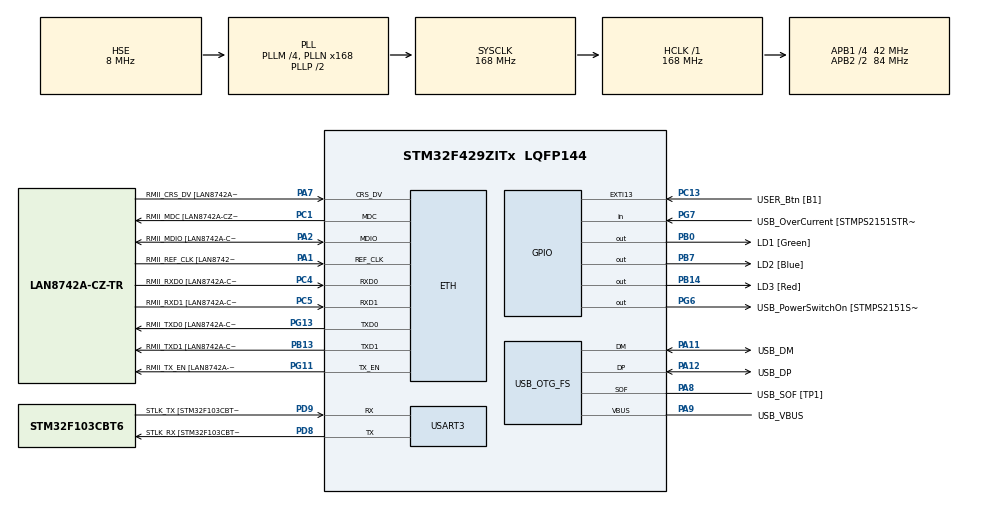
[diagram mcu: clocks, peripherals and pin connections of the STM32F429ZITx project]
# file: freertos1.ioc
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ETH.MediaInterface=ETH_MEDIA_INTERFACE_RMII
ETH.PHY_Name=LAN8742A_PHY_ADDRESS
ETH.PHY_Value=0
ETH.PhyAddress=0
FREERTOS.Tasks01=defaultTask,0,128,StartDefaultTask,Default,NULL,Dynamic,NULL,NULL;FlashBlueTask,0,128,BlueTask,Default,NULL,Dynamic,NULL,NULL;FlashRedTask,0,128,RedTask,Default,NULL,Dynamic,NULL,NULL
Mcu.Family=STM32F4
Mcu.Name=STM32F429ZITx
Mcu.Package=LQFP144
NVIC.PriorityGroup=NVIC_PRIORITYGROUP_4
NVIC.TIM8_UP_TIM13_IRQn=true\:0\:0\:false\:false\:true\:false\:false\:true
NVIC.TimeBase=TIM8_UP_TIM13_IRQn
NVIC.TimeBaseIP=TIM8
PA1.GPIO_Label=RMII_REF_CLK [LAN8742A-CZ-TR_REFCLK0]
PA1.Mode=RMII
PA1.Signal=ETH_REF_CLK
PA10.GPIO_Label=USB_ID
PA10.Signal=USB_OTG_FS_ID
PA11.GPIO_Label=USB_DM
PA11.Mode=Device_Only
PA11.Signal=USB_OTG_FS_DM
PA12.GPIO_Label=USB_DP
PA12.Mode=Device_Only
PA12.Signal=USB_OTG_FS_DP
PA13.GPIO_Label=TMS
PA13.Mode=Serial_Wire
PA13.Signal=SYS_JTMS-SWDIO
PA14.GPIO_Label=TCK
PA14.Mode=Serial_Wire
PA14.Signal=SYS_JTCK-SWCLK
PA2.GPIO_Label=RMII_MDIO [LAN8742A-CZ-TR_MDIO]
PA2.Mode=RMII
PA2.Signal=ETH_MDIO
PA7.GPIO_Label=RMII_CRS_DV [LAN8742A-CZ-TR_CRS_DV]
PA7.Mode=RMII
PA7.Signal=ETH_CRS_DV
PA8.GPIO_Label=USB_SOF [TP1]
PA8.Mode=Activate_SOF_FS
PA8.Signal=USB_OTG_FS_SOF
PA9.GPIO_Label=USB_VBUS
PA9.Mode=Activate_VBUS
PA9.Signal=USB_OTG_FS_VBUS
PB0.GPIO_Label=LD1 [Green]
PB0.Signal=GPIO_Output
PB13.GPIO_Label=RMII_TXD1 [LAN8742A-CZ-TR_TXD1]
PB13.Mode=RMII
PB13.Signal=ETH_TXD1
PB14.GPIO_Label=LD3 [Red]
PB14.Signal=GPIO_Output
PB7.GPIO_Label=LD2 [Blue]
PB7.Signal=GPIO_Output
PC1.GPIO_Label=RMII_MDC [LAN8742A-CZ-TR_MDC]
PC1.Mode=RMII
PC1.Signal=ETH_MDC
PC13.GPIO_Label=USER_Btn [B1]
PC13.GPIO_ModeDefaultEXTI=GPIO_MODE_IT_RISING_FALLING
PC13.Signal=GPXTI13
PC14/OSC32_IN.Mode=LSE-External-Oscillator
PC14/OSC32_IN.Signal=RCC_OSC32_IN
PC15/OSC32_OUT.Mode=LSE-External-Oscillator
PC15/OSC32_OUT.Signal=RCC_OSC32_OUT
PC4.GPIO_Label=RMII_RXD0 [LAN8742A-CZ-TR_RXD0]
PC4.Mode=RMII
PC4.Signal=ETH_RXD0
PC5.GPIO_Label=RMII_RXD1 [LAN8742A-CZ-TR_RXD1]
PC5.Mode=RMII
PC5.Signal=ETH_RXD1
PD8.GPIO_Label=STLK_RX [STM32F103CBT6_PA3]
PD8.Mode=Asynchronous
PD8.Signal=USART3_TX
PD9.GPIO_Label=STLK_TX [STM32F103CBT6_PA2]
PD9.Mode=Asynchronous
PD9.Signal=USART3_RX
PG11.GPIO_Label=RMII_TX_EN [LAN8742A-CZ-TR_TXEN]
PG11.Mode=RMII
PG11.Signal=ETH_TX_EN
PG13.GPIO_Label=RMII_TXD0 [LAN8742A-CZ-TR_TXD0]
PG13.Mode=RMII
PG13.Signal=ETH_TXD0
PG6.GPIO_Label=USB_PowerSwitchOn [STMPS2151STR_EN]
PG6.Signal=GPIO_Output
PG7.GPIO_Label=USB_OverCurrent [STMPS2151STR_FAULT]
PG7.Signal=GPIO_Input
PH0/OSC_IN.GPIO_Label=MCO [STM32F103CBT6_PA8]
PH0/OSC_IN.Mode=HSE-External-Clock-Source
PH0/OSC_IN.Signal=RCC_OSC_IN
PH1/OSC_OUT.Mode=HSE-External-Clock-Source
PH1/OSC_OUT.Signal=RCC_OSC_OUT
ProjectManager.HeapSize=0x200
ProjectManager.StackSize=0x400
ProjectManager.TargetToolchain=TrueSTUDIO
RCC.48MHZClocksFreq_Value=48000000
RCC.AHBFreq_Value=168000000
RCC.APB1CLKDivider=RCC_HCLK_DIV4
RCC.APB1Freq_Value=42000000
RCC.APB1TimFreq_Value=84000000
RCC.APB2CLKDivider=RCC_HCLK_DIV2
RCC.APB2Freq_Value=84000000
RCC.APB2TimCLKDivider=2
RCC.APB2TimFreq_Value=168000000
RCC.CortexFreq_Value=168000000
RCC.HCLKFreq_Value=168000000
RCC.HSE_VALUE=8000000
RCC.HSI_VALUE=16000000
RCC.PLLM=4
RCC.PLLMUL=RCC_PLL_MUL9
RCC.PLLN=168
RCC.PLLQ=7
RCC.PRESCALERUSB=RCC_USBCLKSOURCE_PLL_DIV1_5
RCC.SYSCLKFreq_VALUE=168000000
RCC.SYSCLKSource=RCC_SYSCLKSOURCE_PLLCLK
RCC.SYSCLKSourceVirtual=RCC_SYSCLKSOURCE_PLLCLK
RCC.USBFreq_Value=48000000
RCC.VCOOutputFreq_Value=336000000
USART3.VirtualMode=VM_ASYNC
USB_OTG_FS.VirtualMode=Device_Only
VP_FREERTOS_VS_CMSIS_V1.Mode=CMSIS_V1
VP_SYS_VS_tim8.Mode=TIM8
board=NUCLEO-F429ZI

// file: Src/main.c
/* USER CODE BEGIN Header */
/**
  ******************************************************************************
  * @file           : main.c
  * @brief          : Main program body
  ******************************************************************************
  * @attention
  *
  * <h2><center>&copy; Copyright (c) 2019 STMicroelectronics.
  * All rights reserved.</center></h2>
  *
  * This software component is licensed by ST under BSD 3-Clause license,
  * the "License"; You may not use this file except in compliance with the
  * License. You may obtain a copy of the License at:
  *                        opensource.org/licenses/BSD-3-Clause
  *
  ******************************************************************************
  */
/* USER CODE END Header */

#include "main.h"
#include "cmsis_os.h"
#include "eth.h"
#include "usart.h"
#include "usb_otg.h"
#include "gpio.h"

void SystemClock_Config(void);
void MX_FREERTOS_Init(void);

int main(void)
{

  /* MCU Configuration--------------------------------------------------------*/

  /* Reset of all peripherals, Initializes the Flash interface and the Systick. */
  HAL_Init();

  /* Configure the system clock */
  SystemClock_Config();

  /* Initialize all configured peripherals */
  MX_GPIO_Init();
  MX_ETH_Init();
  MX_USART3_UART_Init();
  MX_USB_OTG_FS_PCD_Init();

  /* Call init function for freertos objects (in freertos.c) */
  MX_FREERTOS_Init();

  /* Start scheduler */
  osKernelStart();

  /* We should never get here as control is now taken by the scheduler */

  /* Infinite loop */
  while (1)
  {

  }
}

void SystemClock_Config(void)
{
  RCC_OscInitTypeDef RCC_OscInitStruct = {0};
  RCC_ClkInitTypeDef RCC_ClkInitStruct = {0};

  /** Configure the main internal regulator output voltage
  */
  __HAL_RCC_PWR_CLK_ENABLE();
  __HAL_PWR_VOLTAGESCALING_CONFIG(PWR_REGULATOR_VOLTAGE_SCALE1);
  /** Initializes the CPU, AHB and APB busses clocks
  */
  RCC_OscInitStruct.OscillatorType = RCC_OSCILLATORTYPE_HSE;
  RCC_OscInitStruct.HSEState = RCC_HSE_BYPASS;
  RCC_OscInitStruct.PLL.PLLState = RCC_PLL_ON;
  RCC_OscInitStruct.PLL.PLLSource = RCC_PLLSOURCE_HSE;
  RCC_OscInitStruct.PLL.PLLM = 4;
  RCC_OscInitStruct.PLL.PLLN = 168;
  RCC_OscInitStruct.PLL.PLLP = RCC_PLLP_DIV2;
  RCC_OscInitStruct.PLL.PLLQ = 7;
  if (HAL_RCC_OscConfig(&RCC_OscInitStruct) != HAL_OK)
  {
    Error_Handler();
  }
  /** Initializes the CPU, AHB and APB busses clocks
  */
  RCC_ClkInitStruct.ClockType = RCC_CLOCKTYPE_HCLK|RCC_CLOCKTYPE_SYSCLK
                              |RCC_CLOCKTYPE_PCLK1|RCC_CLOCKTYPE_PCLK2;
  RCC_ClkInitStruct.SYSCLKSource = RCC_SYSCLKSOURCE_PLLCLK;
  RCC_ClkInitStruct.AHBCLKDivider = RCC_SYSCLK_DIV1;
  RCC_ClkInitStruct.APB1CLKDivider = RCC_HCLK_DIV4;
  RCC_ClkInitStruct.APB2CLKDivider = RCC_HCLK_DIV2;

  if (HAL_RCC_ClockConfig(&RCC_ClkInitStruct, FLASH_LATENCY_5) != HAL_OK)
  {
    Error_Handler();
  }
}

void HAL_TIM_PeriodElapsedCallback(TIM_HandleTypeDef *htim)
{
  if (htim->Instance == TIM8) {
    HAL_IncTick();
  }
}

void Error_Handler(void)
{
}

/************************ (C) COPYRIGHT STMicroelectronics *****END OF FILE****/

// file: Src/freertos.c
/* USER CODE BEGIN Header */
/**
  ******************************************************************************
  * File Name          : freertos.c
  * Description        : Code for freertos applications
  ******************************************************************************
  * @attention
  *
  * <h2><center>&copy; Copyright (c) 2019 STMicroelectronics.
  * All rights reserved.</center></h2>
  *
  * This software component is licensed by ST under Ultimate Liberty license
  * SLA0044, the "License"; You may not use this file except in compliance with
  * the License. You may obtain a copy of the License at:
  *                             www.st.com/SLA0044
  *
  ******************************************************************************
  */
/* USER CODE END Header */

#include "FreeRTOS.h"
#include "task.h"
#include "main.h"
#include "cmsis_os.h"

osThreadId defaultTaskHandle;
osThreadId FlashBlueTaskHandle;
osThreadId FlashRedTaskHandle;

void StartDefaultTask(void const * argument);
void BlueTask(void const * argument);
void RedTask(void const * argument);

void MX_FREERTOS_Init(void); /* (MISRA C 2004 rule 8.1) */

/* GetIdleTaskMemory prototype (linked to static allocation support) */
void vApplicationGetIdleTaskMemory( StaticTask_t **ppxIdleTaskTCBBuffer, StackType_t **ppxIdleTaskStackBuffer, uint32_t *pulIdleTaskStackSize );

/* USER CODE BEGIN GET_IDLE_TASK_MEMORY */
static StaticTask_t xIdleTaskTCBBuffer;
static StackType_t xIdleStack[configMINIMAL_STACK_SIZE];

void vApplicationGetIdleTaskMemory( StaticTask_t **ppxIdleTaskTCBBuffer, StackType_t **ppxIdleTaskStackBuffer, uint32_t *pulIdleTaskStackSize )
{
  *ppxIdleTaskTCBBuffer = &xIdleTaskTCBBuffer;
  *ppxIdleTaskStackBuffer = &xIdleStack[0];
  *pulIdleTaskStackSize = configMINIMAL_STACK_SIZE;
  /* place for user code */
}
/* USER CODE END GET_IDLE_TASK_MEMORY */

void MX_FREERTOS_Init(void) {
  /* USER CODE BEGIN Init */
	HAL_GPIO_WritePin(GPIOB, LD1_Pin, 0);
	HAL_GPIO_WritePin(GPIOB, LD2_Pin, 1);
	HAL_GPIO_WritePin(GPIOB, LD3_Pin, 0);
  /* USER CODE END Init */

  /* Create the thread(s) */
  /* definition and creation of defaultTask */
#ifndef observation
  osThreadDef(defaultTask, StartDefaultTask, osPriorityNormal, 0, 128);
  defaultTaskHandle = osThreadCreate(osThread(defaultTask), NULL);
#endif

  /* definition and creation of FlashBlueTask */
#if ((observationA2 == 1) || (observationB2 == 1))
#elif  (observationC2 == 1)
  osThreadDef(FlashBlueTask, BlueTask, osPriorityHigh, 0, 128);
  FlashBlueTaskHandle = osThreadCreate(osThread(FlashBlueTask), NULL);
#else
  osThreadDef(FlashBlueTask, BlueTask, osPriorityNormal, 0, 128);
  FlashBlueTaskHandle = osThreadCreate(osThread(FlashBlueTask), NULL);
#endif

  /* definition and creation of FlashRedTask */
#if ((observationA1 == 1) || (observationB1 == 1))
#else
	#if ((observationB1 == 1) || (observationB2 == 1) || (observationB3 == 1))
	  osThreadDef(FlashRedTask, RedTask, osPriorityLow, 0, 128);
	#elif  (observationC3 == 1)
	  osThreadDef(FlashRedTask, RedTask, osPriorityHigh, 0, 128);
	#else
	  osThreadDef(FlashRedTask, RedTask, osPriorityNormal, 0, 128);
	#endif
	  FlashRedTaskHandle = osThreadCreate(osThread(FlashRedTask), NULL);
#endif

}

void StartDefaultTask(void const * argument)
{

  /* USER CODE BEGIN StartDefaultTask */
  /* Infinite loop */
  for(;;)
  {
//	  if(HAL_GPIO_ReadPin(USER_Btn_GPIO_Port, USER_Btn_Pin) == 1)
//	  {
//		  compteur = 0;
//		  drapeau = 0;
//		  HAL_GPIO_WritePin(LD2_GPIO_Port, LD2_Pin, 0);
//#ifdef led_rouge
//		  HAL_GPIO_WritePin(LD3_GPIO_Port, LD3_Pin, 1);
//#else
//		  HAL_GPIO_WritePin(LD3_GPIO_Port, LD3_Pin, 0);
//#endif
//		  HAL_GPIO_TogglePin(LD1_GPIO_Port, LD1_Pin);
//		  while(compteur < 1000000){
//			  compteur ++;
//		  }
//		  compteur = 0;
//		  HAL_GPIO_TogglePin(LD1_GPIO_Port, LD1_Pin);
//		  while(compteur < 1000000){
//			  compteur ++;
//		  }
//		  compteur = 0;
//	  }
//	  else
//	  {
//		  if(drapeau == 0){
//			  //HAL_Delay(500);
//			  while(compteur < 10000000){
//				  compteur ++;
//			  }
//			  drapeau = 1;
//		  }
//		  HAL_GPIO_WritePin(LD1_GPIO_Port, LD1_Pin, 0);
//		  HAL_GPIO_WritePin(LD2_GPIO_Port, LD2_Pin, 1);
//#ifdef led_rouge
//		  HAL_GPIO_WritePin(LD3_GPIO_Port, LD3_Pin, 1);
//#else
//		  HAL_GPIO_WritePin(LD3_GPIO_Port, LD3_Pin, 0);
//#endif
//	  }
//    osDelay(1);
  }
  /* USER CODE END StartDefaultTask */
}

void BlueTask(void const * argument)
{
  /* USER CODE BEGIN BlueTask */
	int compteur;
  /* Infinite loop */
  for(;;)
  {
	  compteur = 0;
	  HAL_GPIO_WritePin(LD2_GPIO_Port, LD2_Pin, 1);
	  osDelay(2500);
	  HAL_GPIO_WritePin(LD2_GPIO_Port, LD2_Pin, 0);
#if observationC1  == 1 || observationC2 == 1 || observationC3 == 1
	  while(compteur++ < 40000000);
#else
	  osDelay(2500);
#endif
  }
  /* USER CODE END BlueTask */
}

void RedTask(void const * argument)
{
  /* USER CODE BEGIN RedTask */
  /* Infinite loop */
  for(;;)
  {
		  HAL_GPIO_WritePin(LD3_GPIO_Port, LD3_Pin, 1);
		  osDelay(50);
		  HAL_GPIO_WritePin(LD3_GPIO_Port, LD3_Pin, 0);
		  osDelay(50);
  }
  /* USER CODE END RedTask */
}

/************************ (C) COPYRIGHT STMicroelectronics *****END OF FILE****/
